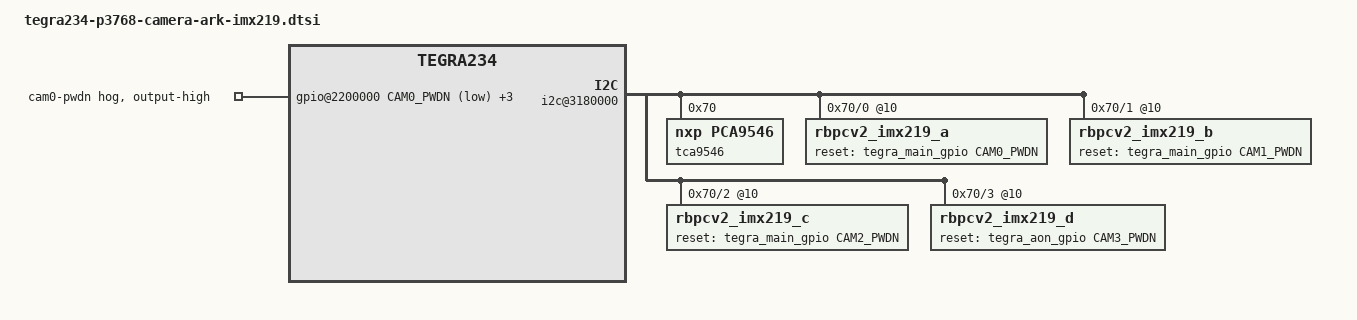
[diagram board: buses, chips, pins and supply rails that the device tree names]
/*
 * Copyright (c) 2022, NVIDIA CORPORATION.  All rights reserved.
 *
 * This program is free software; you can redistribute it and/or modify
 * it under the terms of the GNU General Public License as published by
 * the Free Software Foundation; either version 2 of the License, or
 * (at your option) any later version.
 *
 * This program is distributed in the hope that it will be useful, but WITHOUT
 * ANY WARRANTY; without even the implied warranty of MERCHANTABILITY or
 * FITNESS FOR A PARTICULAR PURPOSE.  See the GNU General Public License for
 * more details.
 *
 * You should have received a copy of the GNU General Public License
 * along with this program.  If not, see <http://www.gnu.org/licenses/>.
 */

#include "tegra234-camera-ark-imx219.dtsi"
#include "dt-bindings/clock/tegra234-clock.h"

#define CAM0_PWDN	TEGRA234_MAIN_GPIO(H, 6)
#define CAM1_PWDN	TEGRA234_MAIN_GPIO(AC, 0)
#define CAM2_PWDN	TEGRA234_MAIN_GPIO(Y, 4)
#define CAM3_PWDN	TEGRA234_AON_GPIO(CC, 3)
//#define CAM_I2C_MUX 	TEGRA234_AON_GPIO(CC, 3)
#define CAMERA_I2C_MUX_BUS(x) (0x1E + x)

/ {
	gpio@2200000 {
		camera-control-output-high {
			gpio-hog;
			output-high;
			gpios = <CAM0_PWDN 1 CAM1_PWDN 1
				CAM2_PWDN 1 CAM3_PWDN 1>;
			label = "cam0-pwdn","cam1-pwdn",
				"cam2-pwdn", "cam3-pwdn";
		};
	};

	i2c@3180000 {
		tca9546@70 {
			compatible = "nxp,pca9546";
			reg = <0x70>;
			#address-cells = <1>;
			#size-cells = <0>;
			skip_mux_detect = "yes";
			force_bus_start = <CAMERA_I2C_MUX_BUS(0)>;
			status = "okay";

			i2c@0 {
				reg = <0>;
				i2c-mux,deselect-on-exit;
				#address-cells = <1>;
				#size-cells = <0>;
				rbpcv2_imx219_a@10 {
					/* Define any required hw resources needed by driver */
					/* ie. clocks, io pins, power sources */
          			//#address-cells = <1>; 
          			//#size-cells = <0>;
					//status = "okay";  
					//clocks = <&bpmp_clks TEGRA234_CLK_EXTPERIPH1>,
					//	 <&bpmp_clks TEGRA234_CLK_PLLP_OUT0>;
					//clock-names = "extperiph1", "pllp_grtba";
					//mclk = "extperiph1";
					reset-gpios = <&tegra_main_gpio CAM0_PWDN GPIO_ACTIVE_HIGH>;
				};
			};
			i2c@1 {
				reg = <1>;
				i2c-mux,deselect-on-exit;
				#address-cells = <1>;
				#size-cells = <0>;
				rbpcv2_imx219_b@10 {
					/* Define any required hw resources needed by driver */
					/* ie. clocks, io pins, power sources */
          			//#address-cells = <1>; 
          			//#size-cells = <0>;
					//status = "okay";  
					//clocks = <&bpmp_clks TEGRA234_CLK_EXTPERIPH2>,
					//	 <&bpmp_clks TEGRA234_CLK_PLLP_OUT0>;
					//clock-names = "extperiph2", "pllp_grtba";
					//mclk = "extperiph2";
					reset-gpios = <&tegra_main_gpio CAM1_PWDN GPIO_ACTIVE_HIGH>;
				};
			};
			i2c@2 {
				reg = <2>;
				i2c-mux,deselect-on-exit;
				#address-cells = <1>;
				#size-cells = <0>;
				rbpcv2_imx219_c@10 {
					/* Define any required hw resources needed by driver */
					/* ie. clocks, io pins, power sources */ 	
          			//#address-cells = <1>; 
          			//#size-cells = <0>;
					//status = "okay";  
					//clocks = <&bpmp_clks TEGRA234_CLK_EXTPERIPH3>,
					//	 <&bpmp_clks TEGRA234_CLK_PLLP_OUT0>;
					//clock-names = "extperiph3", "pllp_grtba";
					//mclk = "extperiph3";
					reset-gpios = <&tegra_main_gpio CAM2_PWDN GPIO_ACTIVE_HIGH>;
				};
			};
			i2c@3 {
				reg = <3>;
				i2c-mux,deselect-on-exit;
				#address-cells = <1>;
				#size-cells = <0>;
				rbpcv2_imx219_d@10 {
					/* Define any required hw resources needed by driver */
					/* ie. clocks, io pins, power sources */
          			//#address-cells = <1>; 
          			//#size-cells = <0>;
					//status = "okay";  
					//clocks = <&bpmp_clks TEGRA234_CLK_EXTPERIPH4>,
					//	 <&bpmp_clks TEGRA234_CLK_PLLP_OUT0>;
					//clock-names = "extperiph4", "pllp_grtba";
					//mclk = "extperiph4";
					reset-gpios = <&tegra_aon_gpio CAM3_PWDN GPIO_ACTIVE_HIGH>;
				};
			};
		};
	};
};
